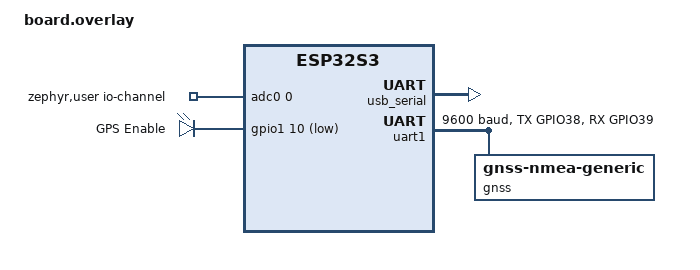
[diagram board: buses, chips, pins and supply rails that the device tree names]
/*
 * SPDX-License-Identifier: MIT
 * Heltec WiFi LoRa 32 V4-R8 — ZephCore overlay
 *
 * The DTS already defines: SX1262 (lora0), SSD1306 OLED, button, LED, PWM,
 * vext_enable, fem_power, I2C0, SPI2, BLE, WiFi.
 * This overlay adds ZephCore-specific integration on top.
 *
 * LoRa SPI2:  SCLK=9, MOSI=10, MISO=11, NSS=8
 * LoRa ctrl:  DIO1=14, BUSY=13, RESET=12
 * FEM:        POWER=7, KCT8103L CSD=2, CTX=5
 * Display I2C0: SDA=17, SCL=18, RST=21
 * Battery ADC: GPIO1 = ADC1_CH0 (&adc0), no enable pin (ADC_Ctrl removed on R8)
 * Vext:       GPIO40 (active-LOW, powers OLED and sensors)
 * Button:     GPIO0
 * LED:        GPIO46
 * GPS UART1:  TX=GPIO38, RX=GPIO39, 9600 baud (Quectel L76K)
 * GPS ctrl:   VGNSS_Ctrl GPIO42 (active-LOW); no reset line on R8
 */

#include <zephyr/dt-bindings/input/input-event-codes.h>

/ {
	chosen {
		/* Native USB serial for ZephCore console/CLI */
		zephyr,console = &usb_serial;
		zephyr,shell-uart = &usb_serial;
	};

	/* Battery ADC — ZephCore reads via zephyr,user { io-channels }.
	 * GPIO1 = ADC unit 1 = node &adc0 (label is 0-indexed, unit is 1-indexed);
	 * the old &adc1 was unit 2 = GPIO11 = SX1262 MISO — always read 0.
	 * Multiplier = 1100 * divider_ratio. The 1100 is NOT the classic-ESP32
	 * ADC reference: Zephyr's adc_esp32 driver calibrates the hardware raw
	 * through adc_cali_raw_to_voltage() and then re-projects the result onto
	 * a fixed 1100 mV / 4095 scale before the application sees it
	 * (adc_esp32.c: acq_raw = acq_mv * ((1 << res) - 1) / meas_ref_internal,
	 * with meas_ref_internal hardcoded to 1100 and no devicetree property to
	 * change it). So 1100 is exactly right here whatever the SoC's true 0 dB
	 * span is, and every other ESP32 board in this tree uses the same form.
	 *
	 * The ratio is what 5720 got wrong: it used 5.2, while this 390K/100K
	 * divider is (390+100)/100 = 4.90. meshnology_w12 states the same 4.90
	 * for the same network from its schematic (R50/R51) and lands on 5390.
	 * 5720 therefore reads about 6% high.
	 *
	 * Cross-checked against hardware: a cell metered at 4.18 V read 868.4 mV
	 * at the pin, which this driver presents as a raw of 3233, so 5390 yields
	 * 4254 mV -- 1.8% high, and that 1.8% is the same offset the pin
	 * measurement itself showed against the meter, i.e. resistor tolerance
	 * rather than a modelling error.
	 *
	 * Note 5.2 is not arithmetic from these resistors at all; it comes from
	 * MeshCore's empirical Arduino multiplier, where analogReadMilliVolts()
	 * returns true millivolts and the constant therefore absorbs the loaded
	 * ratio. Settling 4.90 vs an effective loaded value needs a reading taken
	 * through THIS driver against a metered cell, which has not been done. */
	zephyr,user {
		io-channels = <&adc0 0>;
		vbat-mv-multiplier = <5390>;
	};

	/* No vbat-enable regulator.
	 *
	 * V4/V4.3 gate the divider with ADC_Ctrl on GPIO37, but GPIO33-37 are the
	 * octal-PSRAM pads and this part is an ESP32-S3R8, so that pin is gone --
	 * the vendor pinmap lists ADC_Ctrl as "removed" on V4-R8. The divider is
	 * therefore permanently connected and ZephyrBoard reads it directly; its
	 * vbat_enable lookup is DT_NODE_EXISTS-guarded and degrades to NULL.
	 */

	/* GPS enable — VGNSS_Ctrl on GPIO42, active-LOW.
	 *
	 * V4/V4.3 put VGNSS_Ctrl on GPIO34 and a separate GNSS_RST on GPIO42. The
	 * R8 has neither pin available in that arrangement: GPIO33-37 are consumed
	 * by the octal PSRAM, so VGNSS_Ctrl was moved onto GPIO42 and the reset line
	 * was dropped. Matches the vendor pinmap and Arduino MeshCore
	 * variants/heltec_v4_r8 (PIN_GPS_EN=42, PIN_GPS_EN_ACTIVE=LOW, and no
	 * PIN_GPS_RESET at all).
	 *
	 * With no gps-reset alias this board stays off the manager's
	 * HAS_T1000_GPS_CONTROL sequence and uses the plain enable path, which is
	 * what the hardware supports.
	 */
	gps_en: gps-enable {
		compatible = "gpio-leds";
		gps_enable_pin: gps_enable {
			gpios = <&gpio1 10 GPIO_ACTIVE_LOW>;  /* GPIO42 = gpio1 pin 10 */
			label = "GPS Enable";
		};
	};

	aliases {
		gps-enable = &gps_enable_pin;
	};

	/* Button chain — same mapping as RAK4631 / WisMesh Pocket (rak4631/board.overlay). */
	user_btn_longpress {
		compatible = "zephyr,input-longpress";
		input = <&buttons>;
		input-codes = <INPUT_KEY_0>;
		short-codes = <INPUT_KEY_A>;
		long-codes = <INPUT_KEY_ENTER>;
		long-delay-ms = <1000>;
	};

	page_btn_multitap {
		compatible = "zephcore,input-multi-tap";
		input-codes = <INPUT_KEY_A>;
		tap-codes = <INPUT_KEY_1 INPUT_KEY_LEFT>;
		tap-delay-ms = <400>;
	};
};

/* Enable native USB serial for console/CLI */
&usb_serial {
	status = "okay";
};

/* Patch LoRa radio: add pull-down on DIO1 and enable RX boosted mode.
 * DTS defines antenna-enable, dio2-tx-enable, TCXO and lna-bypass-gpios.
 * Deliberately NOT tx-enable-gpios: binding CTX that way is what gated CSD in
 * 1.17.2 and cost ~69 dB of receive path (see the DTS note on lna-bypass). */
&lora0 {
	dio1-gpios = <&gpio0 14 (GPIO_PULL_DOWN | GPIO_ACTIVE_HIGH)>;
	rx-boosted;
};

/* GPS on UART1 — optional external NMEA module on the pin header, wired to the
 * same pins Arduino MeshCore uses for this board. Its macro names read the
 * other way round (PIN_GPS_RX=38, PIN_GPS_TX=39), but it calls
 * Serial1.setPins(PIN_GPS_TX, PIN_GPS_RX) and Arduino-ESP32's signature is
 * setPins(rxPin, txPin) -- rx first -- so the wiring is MCU TX=38, RX=39.
 * Proven on hardware: the module answers its version query (URANUS5) only
 * with the pins this way round. Do not "fix" this back to the macro names.
 * Upstream leaves uart1 disabled and gives it no pinctrl, so both are set here.
 * GPIO38/39 are otherwise unclaimed on the V4-R8; the console stays on usb_serial
 * (or uart0/GPIO43-44 for companion USB builds).  9600 baud matches Arduino's
 * default for this variant.
 *
 * The node is unconditional, like the V3's gnss node for its optional module:
 * with nothing fitted the driver simply never sees a fix. */
&pinctrl {
	uart1_default: uart1_default {
		group1 {
			pinmux = <UART1_TX_GPIO38>;
			output-high;
		};

		group2 {
			pinmux = <UART1_RX_GPIO39>;
			bias-pull-up;
		};
	};
};

&uart1 {
	status = "okay";
	current-speed = <9600>;
	pinctrl-0 = <&uart1_default>;
	pinctrl-names = "default";

	gnss: gnss-nmea-generic {
		compatible = "gnss-nmea-generic";
	};
};

/* I2C sensors — auto-detected at runtime */
&i2c0 {
	#include "../../common/sensors-i2c.dtsi"
};

/*
 * Flash partitions live in partitions.overlay (this dir) so the identical map
 * is fed to both the app and the MCUboot image — see that file and
 * sysbuild/CMakeLists.txt.
 */

/* LittleFS auto-mount — standard /lfs mount point */
#include "../../common/filesystem.dtsi"
/* USB CDC-ACM — companion USB transport, auto-enabled for companion builds via
 * boards/common/esp32s3_usb.conf (see the auto-include block in CMakeLists.txt).
 * The chosen console above is usb_serial, i.e. the same D+/D- pins, so the conf's
 * paired overlay moves the console to uart0/GPIO43-44 for those builds. */
#include "../../common/esp32s3_usb_otg.dtsi"
